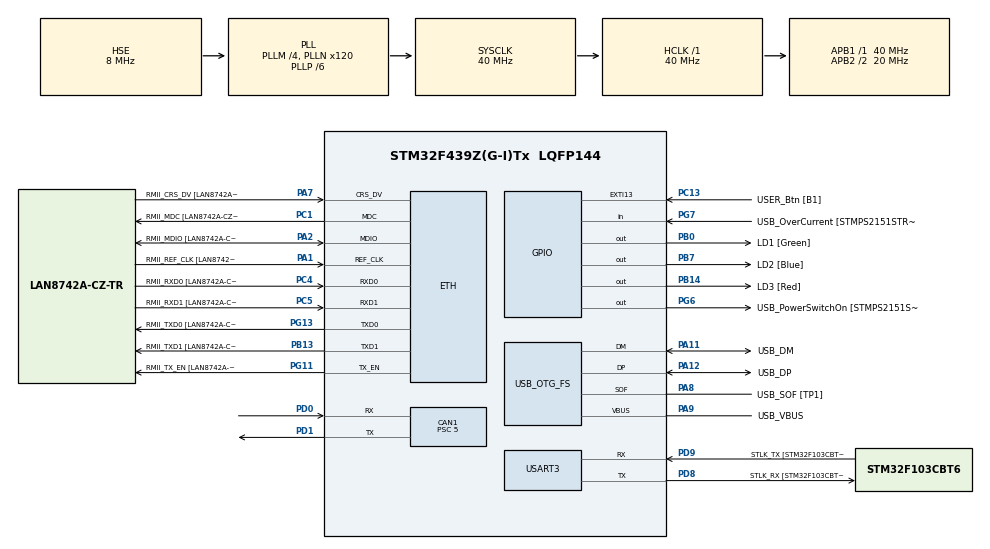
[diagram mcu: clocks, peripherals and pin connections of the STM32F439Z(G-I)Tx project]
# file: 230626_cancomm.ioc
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CAN1.BS1=CAN_BS1_12TQ
CAN1.BS2=CAN_BS2_3TQ
CAN1.CalculateBaudRate=500000
CAN1.CalculateTimeBit=2000
CAN1.CalculateTimeQuantum=125.0
CAN1.Prescaler=5
ETH.MediaInterface=HAL_ETH_RMII_MODE
ETH.PHY_Name=LAN8742A_PHY_ADDRESS
ETH.PHY_Value=0
ETH.PhyAddress=0
Mcu.Family=STM32F4
Mcu.Name=STM32F439Z(G-I)Tx
Mcu.Package=LQFP144
NVIC.PriorityGroup=NVIC_PRIORITYGROUP_4
PA1.GPIO_Label=RMII_REF_CLK [LAN8742A-CZ-TR_REFCLK0]
PA1.Mode=RMII
PA1.Signal=ETH_REF_CLK
PA10.GPIO_Label=USB_ID
PA10.Signal=USB_OTG_FS_ID
PA11.GPIO_Label=USB_DM
PA11.Mode=Device_Only
PA11.Signal=USB_OTG_FS_DM
PA12.GPIO_Label=USB_DP
PA12.Mode=Device_Only
PA12.Signal=USB_OTG_FS_DP
PA13.GPIO_Label=TMS
PA13.Mode=Serial_Wire
PA13.Signal=SYS_JTMS-SWDIO
PA14.GPIO_Label=TCK
PA14.Mode=Serial_Wire
PA14.Signal=SYS_JTCK-SWCLK
PA2.GPIO_Label=RMII_MDIO [LAN8742A-CZ-TR_MDIO]
PA2.Mode=RMII
PA2.Signal=ETH_MDIO
PA7.GPIO_Label=RMII_CRS_DV [LAN8742A-CZ-TR_CRS_DV]
PA7.Mode=RMII
PA7.Signal=ETH_CRS_DV
PA8.GPIO_Label=USB_SOF [TP1]
PA8.Mode=Activate_SOF_FS
PA8.Signal=USB_OTG_FS_SOF
PA9.GPIO_Label=USB_VBUS
PA9.Mode=Activate_VBUS
PA9.Signal=USB_OTG_FS_VBUS
PB0.GPIO_Label=LD1 [Green]
PB0.Signal=GPIO_Output
PB13.GPIO_Label=RMII_TXD1 [LAN8742A-CZ-TR_TXD1]
PB13.Mode=RMII
PB13.Signal=ETH_TXD1
PB14.GPIO_Label=LD3 [Red]
PB14.Signal=GPIO_Output
PB7.GPIO_Label=LD2 [Blue]
PB7.Signal=GPIO_Output
PC1.GPIO_Label=RMII_MDC [LAN8742A-CZ-TR_MDC]
PC1.Mode=RMII
PC1.Signal=ETH_MDC
PC13.GPIO_Label=USER_Btn [B1]
PC13.Signal=GPXTI13
PC14/OSC32_IN.Mode=LSE-External-Oscillator
PC14/OSC32_IN.Signal=RCC_OSC32_IN
PC15/OSC32_OUT.Mode=LSE-External-Oscillator
PC15/OSC32_OUT.Signal=RCC_OSC32_OUT
PC4.GPIO_Label=RMII_RXD0 [LAN8742A-CZ-TR_RXD0]
PC4.Mode=RMII
PC4.Signal=ETH_RXD0
PC5.GPIO_Label=RMII_RXD1 [LAN8742A-CZ-TR_RXD1]
PC5.Mode=RMII
PC5.Signal=ETH_RXD1
PD0.Mode=CAN_Activate
PD0.Signal=CAN1_RX
PD1.Mode=CAN_Activate
PD1.Signal=CAN1_TX
PD8.GPIO_Label=STLK_RX [STM32F103CBT6_PA3]
PD8.Mode=Asynchronous
PD8.Signal=USART3_TX
PD9.GPIO_Label=STLK_TX [STM32F103CBT6_PA2]
PD9.Mode=Asynchronous
PD9.Signal=USART3_RX
PG11.GPIO_Label=RMII_TX_EN [LAN8742A-CZ-TR_TXEN]
PG11.Mode=RMII
PG11.Signal=ETH_TX_EN
PG13.GPIO_Label=RMII_TXD0 [LAN8742A-CZ-TR_TXD0]
PG13.Mode=RMII
PG13.Signal=ETH_TXD0
PG6.GPIO_Label=USB_PowerSwitchOn [STMPS2151STR_EN]
PG6.Signal=GPIO_Output
PG7.GPIO_Label=USB_OverCurrent [STMPS2151STR_FAULT]
PG7.Signal=GPIO_Input
PH0/OSC_IN.GPIO_Label=MCO [STM32F103CBT6_PA8]
PH0/OSC_IN.Mode=HSE-External-Clock-Source
PH0/OSC_IN.Signal=RCC_OSC_IN
PH1/OSC_OUT.Mode=HSE-External-Clock-Source
PH1/OSC_OUT.Signal=RCC_OSC_OUT
ProjectManager.HeapSize=0x200
ProjectManager.StackSize=0x400
ProjectManager.TargetToolchain=STM32CubeIDE
RCC.48MHZClocksFreq_Value=48000000
RCC.AHBFreq_Value=40000000
RCC.APB1Freq_Value=40000000
RCC.APB1TimFreq_Value=40000000
RCC.APB2CLKDivider=RCC_HCLK_DIV2
RCC.APB2Freq_Value=20000000
RCC.APB2TimFreq_Value=40000000
RCC.CortexFreq_Value=40000000
RCC.HCLKFreq_Value=40000000
RCC.HSE_VALUE=8000000
RCC.HSI_VALUE=16000000
RCC.PLLM=4
RCC.PLLMUL=RCC_PLL_MUL9
RCC.PLLN=120
RCC.PLLP=RCC_PLLP_DIV6
RCC.PLLQ=5
RCC.PRESCALERUSB=RCC_USBCLKSOURCE_PLL_DIV1_5
RCC.SYSCLKFreq_VALUE=40000000
RCC.SYSCLKSource=RCC_SYSCLKSOURCE_PLLCLK
RCC.SYSCLKSourceVirtual=RCC_SYSCLKSOURCE_PLLCLK
RCC.USBFreq_Value=48000000
RCC.VCOOutputFreq_Value=240000000
USART3.VirtualMode=VM_ASYNC
USB_OTG_FS.VirtualMode=Device_Only
board=NUCLEO-F439ZI

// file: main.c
/* USER CODE BEGIN Header */
/**
  ******************************************************************************
  * @file           : main.c
  * @brief          : Main program body
  ******************************************************************************
  * @attention
  *
  * Copyright (c) 2026 STMicroelectronics.
  * All rights reserved.
  *
  * This software is licensed under terms that can be found in the LICENSE file
  * in the root directory of this software component.
  * If no LICENSE file comes with this software, it is provided AS-IS.
  *
  ******************************************************************************
  */
/* USER CODE END Header */
#include "main.h"
#include "string.h"

ETH_TxPacketConfig TxConfig;
ETH_DMADescTypeDef  DMARxDscrTab[ETH_RX_DESC_CNT]; /* Ethernet Rx DMA Descriptors */
ETH_DMADescTypeDef  DMATxDscrTab[ETH_TX_DESC_CNT]; /* Ethernet Tx DMA Descriptors */

CAN_HandleTypeDef hcan1;

ETH_HandleTypeDef heth;

UART_HandleTypeDef huart3;

PCD_HandleTypeDef hpcd_USB_OTG_FS;

/* USER CODE BEGIN PV */
CAN_TxHeaderTypeDef pHeader;
CAN_RxHeaderTypeDef RxHeader;
uint8_t RxData[8] = {0};
uint8_t TxData[5]= {1, 2, 3, 4, 5};
uint32_t TxMailbox;
/* USER CODE END PV */

void SystemClock_Config(void);
static void MX_GPIO_Init(void);
static void MX_CAN1_Init(void);
static void MX_ETH_Init(void);
static void MX_USART3_UART_Init(void);
static void MX_USB_OTG_FS_PCD_Init(void);
/* USER CODE BEGIN PFP */
static void MX_CAN1_Filter_Config(void);

/* USER CODE END PFP */

int main(void)
{

  /* MCU Configuration--------------------------------------------------------*/

  /* Reset of all peripherals, Initializes the Flash interface and the Systick. */
  HAL_Init();

  /* Configure the system clock */
  SystemClock_Config();

  /* Initialize all configured peripherals */
  MX_GPIO_Init();
  MX_CAN1_Init();
  MX_ETH_Init();
  MX_USART3_UART_Init();
  MX_USB_OTG_FS_PCD_Init();
  /* USER CODE BEGIN 2 */

  MX_CAN1_Filter_Config();

  pHeader.DLC = 5;
  pHeader.StdId = 0x123;
  pHeader.ExtId = 0x00;
  pHeader.IDE = CAN_ID_STD;
  pHeader.RTR = CAN_RTR_DATA;
  pHeader.TransmitGlobalTime = DISABLE;

  HAL_CAN_Start(&hcan1);

  if (HAL_CAN_ActivateNotification(&hcan1, CAN_IT_TX_MAILBOX_EMPTY) != HAL_OK)
  {
	  Error_Handler();
  }
  /* USER CODE END 2 */

  /* Infinite loop */
  /* USER CODE BEGIN WHILE */
  while (1)
  {
	if (HAL_CAN_AddTxMessage(&hcan1, &pHeader, TxData, &TxMailbox) == HAL_OK)
	{
		while (HAL_CAN_IsTxMessagePending(&hcan1, TxMailbox));
	}

	if (HAL_CAN_GetRxFifoFillLevel(&hcan1, CAN_RX_FIFO0) > 0)
	{
		HAL_CAN_GetRxMessage(&hcan1, CAN_RX_FIFO0, &RxHeader, RxData);
	}
	HAL_Delay(200);
    /* USER CODE END WHILE */

  }
}

void SystemClock_Config(void)
{
  RCC_OscInitTypeDef RCC_OscInitStruct = {0};
  RCC_ClkInitTypeDef RCC_ClkInitStruct = {0};

  /** Configure the main internal regulator output voltage
  */
  __HAL_RCC_PWR_CLK_ENABLE();
  __HAL_PWR_VOLTAGESCALING_CONFIG(PWR_REGULATOR_VOLTAGE_SCALE3);

  /** Initializes the RCC Oscillators according to the specified parameters
  * in the RCC_OscInitTypeDef structure.
  */
  RCC_OscInitStruct.OscillatorType = RCC_OSCILLATORTYPE_HSE;
  RCC_OscInitStruct.HSEState = RCC_HSE_BYPASS;
  RCC_OscInitStruct.PLL.PLLState = RCC_PLL_ON;
  RCC_OscInitStruct.PLL.PLLSource = RCC_PLLSOURCE_HSE;
  RCC_OscInitStruct.PLL.PLLM = 4;
  RCC_OscInitStruct.PLL.PLLN = 120;
  RCC_OscInitStruct.PLL.PLLP = RCC_PLLP_DIV6;
  RCC_OscInitStruct.PLL.PLLQ = 5;
  if (HAL_RCC_OscConfig(&RCC_OscInitStruct) != HAL_OK)
  {
    Error_Handler();
  }

  /** Initializes the CPU, AHB and APB buses clocks
  */
  RCC_ClkInitStruct.ClockType = RCC_CLOCKTYPE_HCLK|RCC_CLOCKTYPE_SYSCLK
                              |RCC_CLOCKTYPE_PCLK1|RCC_CLOCKTYPE_PCLK2;
  RCC_ClkInitStruct.SYSCLKSource = RCC_SYSCLKSOURCE_PLLCLK;
  RCC_ClkInitStruct.AHBCLKDivider = RCC_SYSCLK_DIV1;
  RCC_ClkInitStruct.APB1CLKDivider = RCC_HCLK_DIV1;
  RCC_ClkInitStruct.APB2CLKDivider = RCC_HCLK_DIV2;

  if (HAL_RCC_ClockConfig(&RCC_ClkInitStruct, FLASH_LATENCY_1) != HAL_OK)
  {
    Error_Handler();
  }
}

static void MX_CAN1_Filter_Config(void)
{
  CAN_FilterTypeDef sFilterConfig;

  sFilterConfig.FilterBank = 0;
  sFilterConfig.FilterMode = CAN_FILTERMODE_IDMASK;
  sFilterConfig.FilterScale = CAN_FILTERSCALE_32BIT;
  sFilterConfig.FilterIdHigh = 0x0000;
  sFilterConfig.FilterIdLow = 0x0000;
  sFilterConfig.FilterMaskIdHigh = 0x0000;
  sFilterConfig.FilterMaskIdLow = 0x0000;
  sFilterConfig.FilterFIFOAssignment = CAN_RX_FIFO0;
  sFilterConfig.FilterActivation = ENABLE;

  HAL_CAN_ConfigFilter(&hcan1, &sFilterConfig);
}

static void MX_CAN1_Init(void)
{

  hcan1.Instance = CAN1;
  hcan1.Init.Prescaler = 5;
  hcan1.Init.Mode = CAN_MODE_NORMAL;
  hcan1.Init.SyncJumpWidth = CAN_SJW_1TQ;
  hcan1.Init.TimeSeg1 = CAN_BS1_12TQ;
  hcan1.Init.TimeSeg2 = CAN_BS2_3TQ;
  hcan1.Init.TimeTriggeredMode = DISABLE;
  hcan1.Init.AutoBusOff = ENABLE;
  hcan1.Init.AutoWakeUp = DISABLE;
  hcan1.Init.AutoRetransmission = ENABLE;
  hcan1.Init.ReceiveFifoLocked = DISABLE;
  hcan1.Init.TransmitFifoPriority = DISABLE;
  if (HAL_CAN_Init(&hcan1) != HAL_OK)
  {
    Error_Handler();
  }

}

static void MX_ETH_Init(void)
{

   static uint8_t MACAddr[6];

  heth.Instance = ETH;
  MACAddr[0] = 0x00;
  MACAddr[1] = 0x80;
  MACAddr[2] = 0xE1;
  MACAddr[3] = 0x00;
  MACAddr[4] = 0x00;
  MACAddr[5] = 0x00;
  heth.Init.MACAddr = &MACAddr[0];
  heth.Init.MediaInterface = HAL_ETH_RMII_MODE;
  heth.Init.TxDesc = DMATxDscrTab;
  heth.Init.RxDesc = DMARxDscrTab;
  heth.Init.RxBuffLen = 1524;

  if (HAL_ETH_Init(&heth) != HAL_OK)
  {
    Error_Handler();
  }

  memset(&TxConfig, 0 , sizeof(ETH_TxPacketConfig));
  TxConfig.Attributes = ETH_TX_PACKETS_FEATURES_CSUM | ETH_TX_PACKETS_FEATURES_CRCPAD;
  TxConfig.ChecksumCtrl = ETH_CHECKSUM_IPHDR_PAYLOAD_INSERT_PHDR_CALC;
  TxConfig.CRCPadCtrl = ETH_CRC_PAD_INSERT;

}

static void MX_USART3_UART_Init(void)
{

  huart3.Instance = USART3;
  huart3.Init.BaudRate = 115200;
  huart3.Init.WordLength = UART_WORDLENGTH_8B;
  huart3.Init.StopBits = UART_STOPBITS_1;
  huart3.Init.Parity = UART_PARITY_NONE;
  huart3.Init.Mode = UART_MODE_TX_RX;
  huart3.Init.HwFlowCtl = UART_HWCONTROL_NONE;
  huart3.Init.OverSampling = UART_OVERSAMPLING_16;
  if (HAL_UART_Init(&huart3) != HAL_OK)
  {
    Error_Handler();
  }

}

static void MX_USB_OTG_FS_PCD_Init(void)
{

  hpcd_USB_OTG_FS.Instance = USB_OTG_FS;
  hpcd_USB_OTG_FS.Init.dev_endpoints = 4;
  hpcd_USB_OTG_FS.Init.speed = PCD_SPEED_FULL;
  hpcd_USB_OTG_FS.Init.dma_enable = DISABLE;
  hpcd_USB_OTG_FS.Init.phy_itface = PCD_PHY_EMBEDDED;
  hpcd_USB_OTG_FS.Init.Sof_enable = ENABLE;
  hpcd_USB_OTG_FS.Init.low_power_enable = DISABLE;
  hpcd_USB_OTG_FS.Init.lpm_enable = DISABLE;
  hpcd_USB_OTG_FS.Init.vbus_sensing_enable = ENABLE;
  hpcd_USB_OTG_FS.Init.use_dedicated_ep1 = DISABLE;
  if (HAL_PCD_Init(&hpcd_USB_OTG_FS) != HAL_OK)
  {
    Error_Handler();
  }

}

static void MX_GPIO_Init(void)
{
  GPIO_InitTypeDef GPIO_InitStruct = {0};

  /* GPIO Ports Clock Enable */
  __HAL_RCC_GPIOC_CLK_ENABLE();
  __HAL_RCC_GPIOH_CLK_ENABLE();
  __HAL_RCC_GPIOA_CLK_ENABLE();
  __HAL_RCC_GPIOB_CLK_ENABLE();
  __HAL_RCC_GPIOD_CLK_ENABLE();
  __HAL_RCC_GPIOG_CLK_ENABLE();

  /*Configure GPIO pin Output Level */
  HAL_GPIO_WritePin(GPIOB, LD1_Pin|LD3_Pin|LD2_Pin, GPIO_PIN_RESET);

  /*Configure GPIO pin Output Level */
  HAL_GPIO_WritePin(USB_PowerSwitchOn_GPIO_Port, USB_PowerSwitchOn_Pin, GPIO_PIN_RESET);

  /*Configure GPIO pin : USER_Btn_Pin */
  GPIO_InitStruct.Pin = USER_Btn_Pin;
  GPIO_InitStruct.Mode = GPIO_MODE_IT_RISING;
  GPIO_InitStruct.Pull = GPIO_NOPULL;
  HAL_GPIO_Init(USER_Btn_GPIO_Port, &GPIO_InitStruct);

  /*Configure GPIO pins : LD1_Pin LD3_Pin LD2_Pin */
  GPIO_InitStruct.Pin = LD1_Pin|LD3_Pin|LD2_Pin;
  GPIO_InitStruct.Mode = GPIO_MODE_OUTPUT_PP;
  GPIO_InitStruct.Pull = GPIO_NOPULL;
  GPIO_InitStruct.Speed = GPIO_SPEED_FREQ_LOW;
  HAL_GPIO_Init(GPIOB, &GPIO_InitStruct);

  /*Configure GPIO pin : USB_PowerSwitchOn_Pin */
  GPIO_InitStruct.Pin = USB_PowerSwitchOn_Pin;
  GPIO_InitStruct.Mode = GPIO_MODE_OUTPUT_PP;
  GPIO_InitStruct.Pull = GPIO_NOPULL;
  GPIO_InitStruct.Speed = GPIO_SPEED_FREQ_LOW;
  HAL_GPIO_Init(USB_PowerSwitchOn_GPIO_Port, &GPIO_InitStruct);

  /*Configure GPIO pin : USB_OverCurrent_Pin */
  GPIO_InitStruct.Pin = USB_OverCurrent_Pin;
  GPIO_InitStruct.Mode = GPIO_MODE_INPUT;
  GPIO_InitStruct.Pull = GPIO_NOPULL;
  HAL_GPIO_Init(USB_OverCurrent_GPIO_Port, &GPIO_InitStruct);

}

void Error_Handler(void)
{
  __disable_irq();
  while (1)
  {
  }
}
